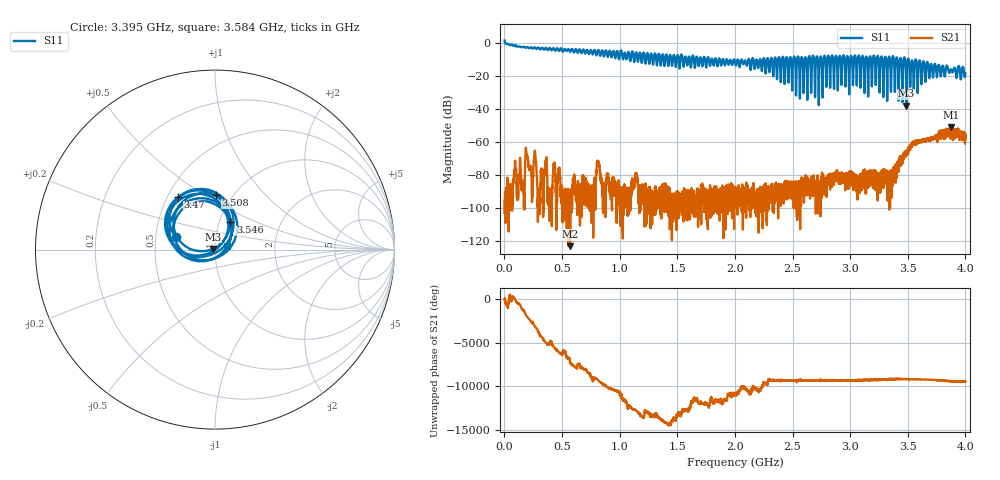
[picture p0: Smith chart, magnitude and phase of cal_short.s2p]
!Created with skrf (http://scikit-rf.org).
# GHz S RI R 50.0
!freq ReS11 ImS11 ReS21 ImS21 ReS12 ImS12 ReS22 ImS22
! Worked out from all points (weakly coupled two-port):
!   4000 points, 1 MHz to 4 GHz, reference 50 ohm
!   highest |S21| = -51.16 dB at 3.874 GHz (marker M1); lowest = -123.2 dB at 570 MHz (marker M2)
!   lowest |S11| = -38.2 dB at 3.488 GHz (marker M3), VSWR 1.02, Z = 48.8 + j0.346 ohm
!   |S11| at or under -10 dB: 1.898 GHz to 2.118 GHz (219.7 MHz wide, 10.9 % of centre); 2.158 GHz to 2.216 GHz (57.92 MHz wide, 2.65 % of centre); 3.506 GHz to end of sweep (the widest 3 of 71)
!   S12 and S22 are empty: the file has one direction only
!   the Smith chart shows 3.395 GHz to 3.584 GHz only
!   S11 on the Smith chart (normalised r, x): 3.395 GHz: 0.63, +0.09; 3.47 GHz: 0.56, +0.38; 3.508 GHz: 0.84, +0.56; 3.546 GHz: 1.13, +0.35; 3.584 GHz: 1.14, +0.05
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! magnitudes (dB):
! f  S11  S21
! 1 MHz  1.3  -95.6
! 159 MHz  -2.5  -87.9
! 198 MHz  -2.6  -68.7
! 230 MHz  -2.8  -75.6
! 270 MHz  -3.3  -69.9
! 297 MHz  -3.0  -88.9
! 570 MHz  -5.6  -123.2
! 668 MHz  -6.4  -86.8
! 813 MHz  -4.6  -72.8
! 854 MHz  -5.7  -90.1
! 1.334 GHz  -7.6  -92.7
! 2.001 GHz  -12.0  -92.8
! 2.667 GHz  -13.2  -83.9
! 3.334 GHz  -9.0  -84.6
! 3.395 GHz  -12.8  -76.9
! 3.47 GHz  -8.9  -69.3
! 3.488 GHz  -38.2  -66.5
! 3.508 GHz  -10.4  -63.4
! 3.546 GHz  -15.2  -60.1
! 3.584 GHz  -23.2  -60.8
! 3.874 GHz  -16.2  -51.2
! 4 GHz  -18.6  -55.6
